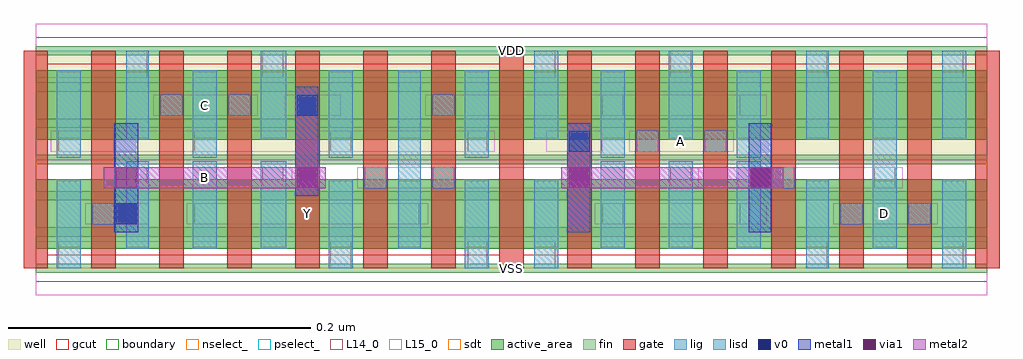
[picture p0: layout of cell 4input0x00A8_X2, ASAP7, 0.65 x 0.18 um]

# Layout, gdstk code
import gdstk
lib = gdstk.Library(unit=1e-6, precision=1e-09)
def R(c, l, rs):  # rectangles x0, y0, x1, y1
    for r in rs: c.add(gdstk.rectangle(r[:2], r[2:], *l))
def A(c, l, x, y, w, h, nx, ny, dx, dy):  # array of equal rectangles
    R(c, l, [(x+i*dx, y+j*dy, x+i*dx+w, y+j*dy+h) for i in range(nx) for j in range(ny)])
def P(c, l, *ps):  # polygons
    for p in ps: c.add(gdstk.Polygon(p, *l))
well = (1, 0)
fin = (2, 0)
gate = (7, 0)
gcut = (10, 0)
active_area = (11, 0)
nselect_ = (12, 0)
pselect_ = (13, 0)
L14_0 = (14, 0)
L15_0 = (15, 0)
lig = (16, 0)
lisd = (17, 0)
v0 = (18, 0)
metal1 = (19, 0)
metal2 = (20, 0)
via1 = (21, 0)
sdt = (88, 0)
boundary = (100, 0)

c_4input0x00a8_x2 = lib.new_cell('4input0x00A8_X2')
R(c_4input0x00a8_x2, well, [(0,0.072,0.63,0.144)])
A(c_4input0x00a8_x2, fin, 0, -0.003, 0.63, 0.006, 1, 7, 0, 0.024)
A(c_4input0x00a8_x2, gate, -0.008, 0, 0.016, 0.144, 15, 1, 0.045, 0)
P(c_4input0x00a8_x2, gcut, [(0,-0.009),(0,0),(-0.008,0),(-0.008,0.135),(0.008,0.135),(0.008,0.009),(0.307,0.009),(0.307,0.135),(0.323,0.135),(0.323,0.009),(0.622,0.009),(0.622,0.135),(-0.008,0.135),(-0.008,0.144),(0,0.144),(0,0.153),(0.63,0.153),(0.63,0.144),(0.638,0.144),(0.638,0),(0.63,0),(0.63,-0.009)])
R(c_4input0x00a8_x2, active_area, [(0,0.013,0.63,0.059), (0,0.085,0.63,0.131)])
R(c_4input0x00a8_x2, nselect_, [(0,0,0.63,0.072)])
R(c_4input0x00a8_x2, pselect_, [(0,0.072,0.63,0.144)])
A(c_4input0x00a8_x2, L14_0, 0.353, 0.077, 0.014, 0.014, 3, 1, 0.045, 0)
A(c_4input0x00a8_x2, L14_0, 0.083, 0.101, 0.014, 0.014, 3, 1, 0.045, 0)
A(c_4input0x00a8_x2, L14_0, 0.33, 0.126, 0.014, 0.018, 4, 1, 0.09, 0)
R(c_4input0x00a8_x2, L14_0, [(0.015,0,0.03,0.018), (0.195,0,0.209,0.018), (0.286,0,0.299,0.018), (0.33,0,0.344,0.018), (0.51,0,0.524,0.018), (0.6,0,0.614,0.018), (0.038,0.029,0.052,0.043), (0.105,0.029,0.12,0.043), (0.24,0.029,0.254,0.043), (0.375,0.029,0.389,0.043), (0.466,0.029,0.48,0.043), (0.533,0.029,0.547,0.043), (0.578,0.029,0.592,0.043), (0.06,0.053,0.074,0.067), (0.15,0.053,0.164,0.067), (0.218,0.053,0.232,0.067), (0.263,0.053,0.277,0.067), (0.42,0.053,0.434,0.067), (0.488,0.053,0.502,0.067), (0.555,0.053,0.569,0.067), (0.015,0.077,0.03,0.091), (0.105,0.077,0.12,0.091), (0.195,0.077,0.209,0.091), (0.286,0.077,0.299,0.091), (0.263,0.101,0.277,0.115), (0.375,0.101,0.389,0.115), (0.466,0.101,0.48,0.115), (0.06,0.126,0.074,0.144), (0.15,0.126,0.164,0.144)])
R(c_4input0x00a8_x2, L15_0, [(0,-0.018,0.63,0.018), (0.033,0.029,0.075,0.043), (0.1,0.029,0.26,0.043), (0.37,0.029,0.484,0.043), (0.528,0.029,0.597,0.043), (0.055,0.053,0.17,0.067), (0.213,0.053,0.439,0.067), (0.465,0.053,0.574,0.067), (0.01,0.077,0.304,0.091), (0.338,0.077,0.375,0.091), (0.393,0.077,0.462,0.091), (0.078,0.101,0.147,0.115), (0.165,0.101,0.202,0.115), (0.258,0.101,0.484,0.115), (0,0.126,0.63,0.162)])
A(c_4input0x00a8_x2, lig, 0.353, 0.077, 0.014, 0.014, 3, 1, 0.045, 0)
A(c_4input0x00a8_x2, lig, 0.083, 0.101, 0.014, 0.014, 3, 1, 0.045, 0)
R(c_4input0x00a8_x2, lig, [(0.038,0.029,0.052,0.043), (0.533,0.029,0.547,0.043), (0.578,0.029,0.592,0.043), (0.218,0.053,0.232,0.067), (0.263,0.053,0.277,0.067), (0.488,0.053,0.502,0.067), (0.263,0.101,0.277,0.115)])
A(c_4input0x00a8_x2, lisd, 0.374, 0.013, 0.016, 0.058, 3, 1, 0.045, 0)
A(c_4input0x00a8_x2, lisd, 0.014, 0.073, 0.016, 0.058, 6, 1, 0.09, 0)
R(c_4input0x00a8_x2, lisd, [(0.014,0,0.03,0.059), (0.194,0,0.21,0.059), (0.284,0,0.3,0.059), (0.33,0,0.346,0.059), (0.51,0,0.525,0.059), (0.6,0,0.616,0.059), (0.06,0.013,0.075,0.071), (0.104,0.013,0.12,0.071), (0.149,0.013,0.166,0.071), (0.24,0.013,0.255,0.131), (0.554,0.013,0.57,0.131), (0.06,0.085,0.075,0.144), (0.149,0.085,0.166,0.144), (0.33,0.085,0.346,0.144), (0.419,0.085,0.435,0.144), (0.51,0.085,0.525,0.144), (0.6,0.085,0.616,0.144)])
R(c_4input0x00a8_x2, v0, [(0.053,0.029,0.067,0.043), (0.473,0.053,0.487,0.067), (0.353,0.077,0.367,0.091), (0.173,0.101,0.187,0.115)])
R(c_4input0x00a8_x2, metal1, [(0.052,0.024,0.068,0.096), (0.352,0.024,0.367,0.096), (0.472,0.024,0.487,0.096), (0.172,0.048,0.187,0.12)])
R(c_4input0x00a8_x2, metal2, [(0.045,0.053,0.192,0.067), (0.348,0.053,0.495,0.067)])
R(c_4input0x00a8_x2, via1, [(0.053,0.053,0.067,0.067), (0.173,0.053,0.187,0.067), (0.353,0.053,0.367,0.067), (0.473,0.053,0.487,0.067)])
A(c_4input0x00a8_x2, sdt, 0.014, 0.014, 0.016, 0.044, 4, 2, 0.09, 0.072)
A(c_4input0x00a8_x2, sdt, 0.374, 0.014, 0.016, 0.044, 3, 2, 0.045, 0.072)
R(c_4input0x00a8_x2, sdt, [(0.06,0.014,0.075,0.058), (0.149,0.014,0.166,0.058), (0.24,0.014,0.255,0.058), (0.33,0.014,0.346,0.058), (0.51,0.014,0.525,0.058), (0.554,0.014,0.57,0.058), (0.6,0.014,0.616,0.058), (0.06,0.086,0.075,0.13), (0.149,0.086,0.166,0.13), (0.24,0.086,0.255,0.13), (0.33,0.086,0.346,0.13), (0.51,0.086,0.525,0.13), (0.554,0.086,0.57,0.13), (0.6,0.086,0.616,0.13)])
R(c_4input0x00a8_x2, boundary, [(0,0,0.63,0.144)])
c_4input0x00a8_x2.add(gdstk.Label('A', (0.427,0.084), layer=15, texttype=251))
c_4input0x00a8_x2.add(gdstk.Label('VSS', (0.315,0), layer=15, texttype=251))
c_4input0x00a8_x2.add(gdstk.Label('VDD', (0.315,0.144), layer=15, texttype=251))
c_4input0x00a8_x2.add(gdstk.Label('D', (0.562,0.036), layer=15, texttype=251))
c_4input0x00a8_x2.add(gdstk.Label('VSS', (0.315,0), layer=15, texttype=251))
c_4input0x00a8_x2.add(gdstk.Label('VDD', (0.315,0.144), layer=15, texttype=251))
c_4input0x00a8_x2.add(gdstk.Label('C', (0.112,0.108), layer=15, texttype=251))
c_4input0x00a8_x2.add(gdstk.Label('VSS', (0.315,0), layer=15, texttype=251))
c_4input0x00a8_x2.add(gdstk.Label('VDD', (0.315,0.144), layer=15, texttype=251))
c_4input0x00a8_x2.add(gdstk.Label('Y', (0.18,0.036), layer=15, texttype=251))
c_4input0x00a8_x2.add(gdstk.Label('VSS', (0.315,0), layer=15, texttype=251))
c_4input0x00a8_x2.add(gdstk.Label('VDD', (0.315,0.144), layer=15, texttype=251))
c_4input0x00a8_x2.add(gdstk.Label('VSS', (0.315,0), layer=15, texttype=251))
c_4input0x00a8_x2.add(gdstk.Label('VDD', (0.315,0.144), layer=15, texttype=251))
c_4input0x00a8_x2.add(gdstk.Label('VSS', (0.315,0), layer=3, texttype=251))
c_4input0x00a8_x2.add(gdstk.Label('VSS', (0.315,0), layer=3, texttype=251))
c_4input0x00a8_x2.add(gdstk.Label('VSS', (0.315,0), layer=3, texttype=251))
c_4input0x00a8_x2.add(gdstk.Label('VSS', (0.315,0), layer=3, texttype=251))
c_4input0x00a8_x2.add(gdstk.Label('VSS', (0.315,0), layer=3, texttype=251))
c_4input0x00a8_x2.add(gdstk.Label('VDD', (0.315,0.144), layer=1, texttype=251))
c_4input0x00a8_x2.add(gdstk.Label('VDD', (0.315,0.144), layer=1, texttype=251))
c_4input0x00a8_x2.add(gdstk.Label('VDD', (0.315,0.144), layer=1, texttype=251))
c_4input0x00a8_x2.add(gdstk.Label('VDD', (0.315,0.144), layer=1, texttype=251))
c_4input0x00a8_x2.add(gdstk.Label('VDD', (0.315,0.144), layer=1, texttype=251))
c_4input0x00a8_x2.add(gdstk.Label('B', (0.112,0.06), layer=20, texttype=251))

lib.write_gds('4input0x00A8_X2.gds')
